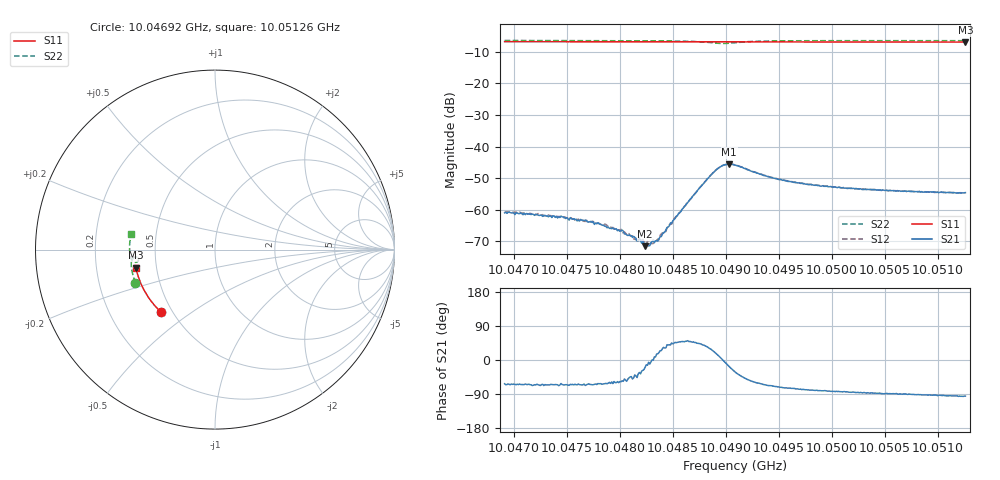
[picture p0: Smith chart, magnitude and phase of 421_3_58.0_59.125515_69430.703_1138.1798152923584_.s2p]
#  HZ  S  RI  R  50.00
! Rohde & Schwarz Vector Network Analyzer
! Rohde-Schwarz,ZNB20-2Port,1311601062101988,3.16
! Created: UTC 3/21/2024, 1:09:09 AM
! freq[Hz]  re:S11  im:S11  re:S21  im:S21  re:S12  im:S12  re:S22  im:S22
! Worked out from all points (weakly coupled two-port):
!   401 points, 10.04692 GHz to 10.05126 GHz, reference 50 ohm
!   highest |S21| = -45.58 dB at 10.04903 GHz (marker M1); lowest = -71.5 dB at 10.04824 GHz (marker M2)
!   lowest |S11| = -6.9 dB at 10.05126 GHz (marker M3), VSWR 2.65, Z = 19.1 - j4.86 ohm
!   |S11| at or under -10 dB: nowhere
!   |S22| runs from -7.3 to -6.4 dB; largest |S21 - S12| = 0.00035
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1.0046916e10  -0.3026 -0.346  0.000409 -0.000793  0.000451 -0.000781  -0.4429 -0.1851
1.0047253e10  -0.3184 -0.3304  0.000316 -0.000758  0.000388 -0.000734  -0.4507 -0.1636
1.0047448e10  -0.3275 -0.321  0.000372 -0.000702  0.000356 -0.000675  -0.4546 -0.1507
1.0047644e10  -0.336 -0.3115  0.000282 -0.000621  0.000328 -0.000612  -0.4584 -0.1376
1.004785e10  -0.3447 -0.3009  0.000255 -0.000501  0.000314 -0.000477  -0.4615 -0.1234
1.0048013e10  -0.3515 -0.2925  0.000247 -0.000388  0.000277 -0.000403  -0.4637 -0.1117
1.00481e10  -0.3551 -0.2881  0.00028 -0.000276  0.000273 -0.000272  -0.4649 -0.1053
1.0048155e10  -0.3572 -0.2853  0.000264 -0.000234  0.000256 -0.000215  -0.4654 -0.1012
1.0048242e10  -0.3606 -0.2807  0.00025 -8.58e-05  0.000266 -0.000115  -0.4661 -0.0947
1.0048263e10  -0.3614 -0.2795  0.000281 -6.99e-05  0.000311 -5.31e-05  -0.4661 -0.0929
1.0048318e10  -0.3636 -0.2766  0.000333 -1.85e-06  0.000287 5.28e-05  -0.4667 -0.0885
1.004835e10  -0.3646 -0.2749  0.000312 8.84e-05  0.000315 9.06e-05  -0.4667 -0.0858
1.0048372e10  -0.3656 -0.2737  0.000325 0.000116  0.000297 0.000153  -0.4667 -0.084
1.0048676e10  -0.3767 -0.257  0.00102 0.00112  0.000932 0.00119  -0.4616 -0.0556
1.004885e10  -0.3827 -0.2472  0.00292 0.00171  0.00281 0.0019  -0.4436 -0.0414
1.0048948e10  -0.3856 -0.2418  0.00471 0.000611  0.00469 0.000891  -0.4284 -0.0483
1.0049035e10  -0.3884 -0.237  0.00501 -0.00162  0.00514 -0.0013  -0.4288 -0.0644
1.0049089e10  -0.3902 -0.2342  0.00436 -0.00266  0.00455 -0.00236  -0.437 -0.0702
1.0049437e10  -0.4014 -0.214  0.0012 -0.00299  0.00136 -0.00293  -0.4696 -0.0464
1.0049817e10  -0.4119 -0.1915  0.000473 -0.00244  0.000599 -0.00241  -0.4754 -0.0149
1.0050545e10  -0.4288 -0.1468  4.51e-05 -0.00201  0.000162 -0.00202  -0.4751 0.0371
1.0051262e10  -0.4405 -0.1013  -0.000173 -0.00186  -5.47e-05 -0.00184  -0.4686 0.0851
